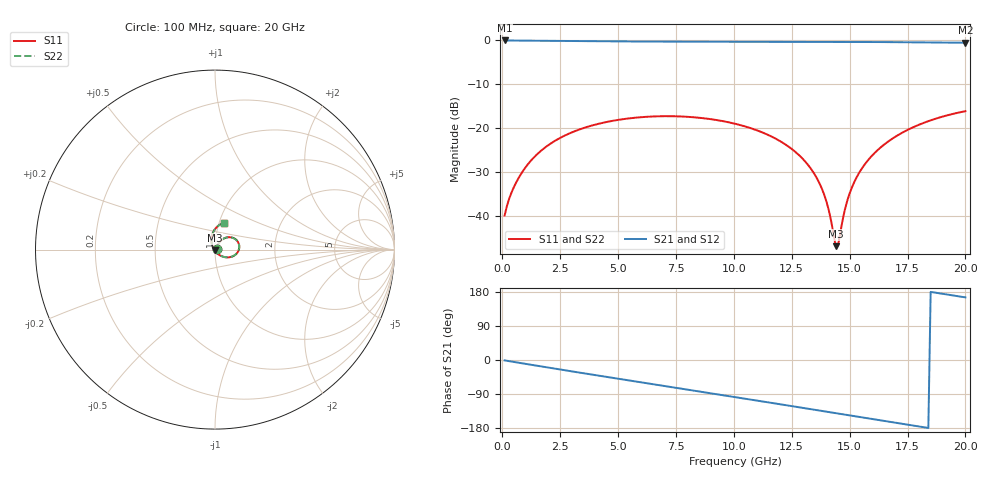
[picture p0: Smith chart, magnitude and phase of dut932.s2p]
! Touchstone file exported from HFSS 2026.1.0
!  File:  C:/ffzhzh/LocalFiles/Ansys_Project_Files/temp_train_TSV_RDL_932_1783280624_39728.aedt
!  Generated:  03:52:26 AM Jul  6, 2026
!  Design:  TSV_RDL
!  Project:  temp_train_TSV_RDL_932_1783280624_39728
! Variables:
!  h_bsmrdl = 5.39um
!  h_ox = 20um
!  h_rdl = 5um
!  h_sub = 83.04um
!  h_tmrdl = 5.62um
!  h_tsv = 83.04um
!  h_via = 3um
!  l_bsmrdl = 542.77um
!  l_sub = 3012.39um
!  l_tmrdl = 213.8um
!  m_sub = 200um
!  pitch = 37.77um
!  r_tsv = 13.3um
!  s_tmrdl = 10um
!  w_bsmrdl = 29um
!  w_sub = 500um
!  w_tmrdl = 13.96um
!  x_tsv_center1 = 220.78um
!  x_tsv_center2 = 792.55um
!  x_tsv_center3 = 1020.31um
!  x_tsv_center4 = 1592.08um
!  x_tsv_center5 = 1819.84um
!  x_tsv_center6 = 2391.61um
# GHz S MA R 50.000000
! Terminal data exported
! Port[1] = TM_RDL1_1_T1
! Port[2] = TM_RDL5_1_T1
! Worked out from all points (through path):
!   200 points, 100 MHz to 20 GHz, reference 50 ohm
!   highest |S21| = -0.08 dB at 100 MHz (marker M1); lowest = -0.6 dB at 20 GHz (marker M2)
!   group delay of S21, straight-line fit = 27 ps
!   lowest |S11| = -46.8 dB at 14.4 GHz (marker M3), VSWR 1.01, Z = 49.7 - j0.362 ohm
!   |S11| at or under -10 dB: start of sweep to end of sweep
!   |S22| runs from -47.3 to -16.1 dB; largest |S21 - S12| = 6.3e-14
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0.1  0.01018 25.5  0.9909 -1.1  0.9909 -1.1  0.01018 25.5
! Gamma 0 0 0 0
! Port Impedance 50 0 50 0
0.5  0.02139 51.6  0.988 -5.2  0.988 -5.2  0.02139 51.6
1.3  0.04462 58.8  0.9851 -13.2  0.9851 -13.2  0.04462 58.8
2.3  0.07247 53.5  0.9803 -23.1  0.9803 -23.1  0.07247 53.5
3.5  0.1001 43.4  0.9738 -34.9  0.9738 -34.9  0.1001 43.4
6.8  0.1366 13.5  0.9613 -66.7  0.9613 -66.7  0.1365 13.6
8.5  0.1313 -2.3  0.9589 -82.9  0.9589 -82.9  0.1313 -2.2
10.1  0.1115 -17.5  0.9586 -98.3  0.9586 -98.3  0.1114 -17.4
12.1  0.06863 -37.8  0.9586 -117.8  0.9586 -117.8  0.06859 -37.6
12.8  0.0498 -45.8  0.9583 -124.6  0.9583 -124.6  0.04976 -45.5
13.4  0.03252 -54.2  0.9578 -130.5  0.9578 -130.5  0.03246 -53.7
13.7  0.0236 -60.0  0.9574 -133.4  0.9574 -133.4  0.02353 -59.4
14  0.01464 -69.5  0.9569 -136.4  0.9569 -136.4  0.01454 -68.5
14.2  0.008885 -83.3  0.9565 -138.3  0.9565 -138.3  0.008736 -81.9
14.4  0.00457 -127.3  0.9561 -140.3  0.9561 -140.3  0.004312 -126.5
14.5  0.00464 -168.3  0.9559 -141.3  0.9559 -141.3  0.004406 -169.9
14.8  0.01202 141.1  0.9552 -144.2  0.9552 -144.2  0.01196 139.9
15.2  0.02441 126.4  0.9541 -148.2  0.9541 -148.2  0.02439 125.8
15.8  0.04344 116.2  0.9522 -154.0  0.9522 -154.0  0.04344 115.8
16.7  0.07162 105.3  0.9488 -162.9  0.9488 -162.9  0.07163 105.1
18.1  0.1122 90.7  0.9424 -176.5  0.9424 -176.5  0.1122 90.6
20  0.1559 72.2  0.9335 165.2  0.9335 165.2  0.1559 72.1
